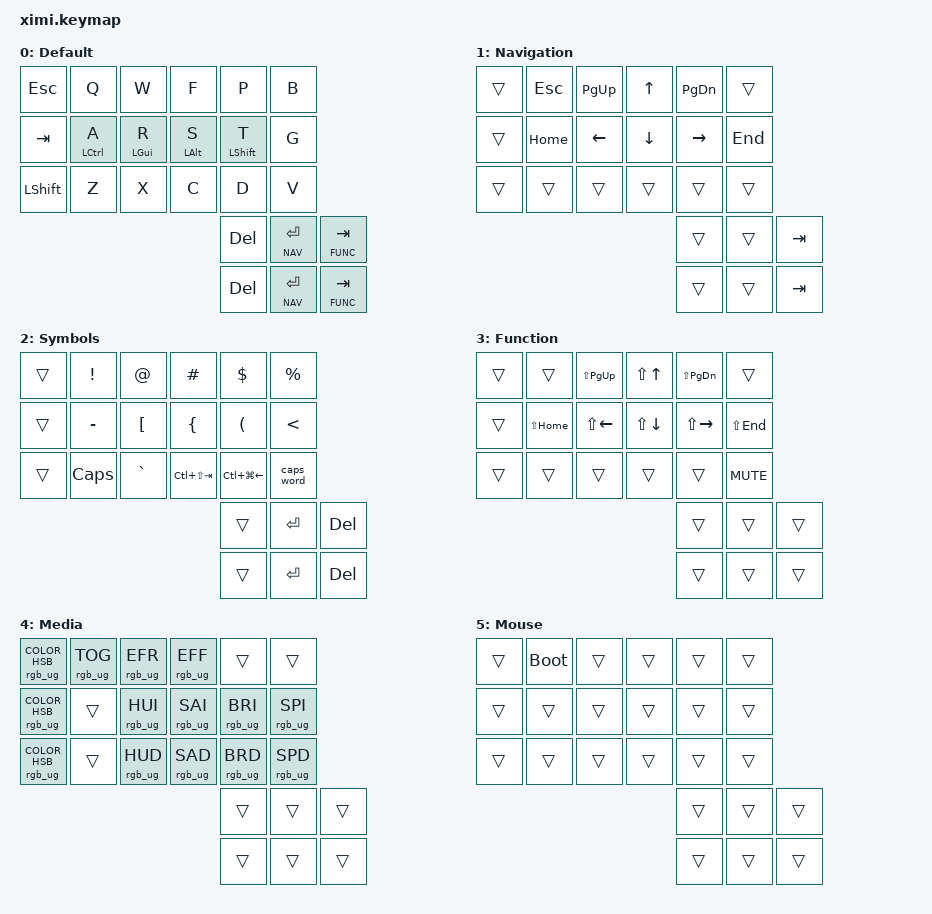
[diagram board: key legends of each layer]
/*
 * Copyright (c) 2020 The ZMK Contributors
 *
 * SPDX-License-Identifier: MIT
 */

#include <behaviors.dtsi>
#include <dt-bindings/zmk/keys.h>
#include <dt-bindings/zmk/rgb.h>
#include <dt-bindings/zmk/bt.h>
#include <dt-bindings/zmk/ext_power.h>
#include <dt-bindings/zmk/outputs.h>

#define DEFAULT 0
#define NAV     1
#define SYM     2
#define FUNC    3
#define MEDIA   4
#define MOUSE   5

&caps_word {
    continue-list = <UNDERSCORE MINUS>;
};
/*
/ {
// TODO: key positions
    combos {
        compatible = "zmk,combos";
        combo_undo {
            timeout-ms = <50>;
            key-positions = <14 15>;
            bindings = <&kp LC(Z)>;
        };
        combo_semicolon {
            timeout-ms = <50>;
            key-positions = <21 22>;
            bindings = <&kp SEMI>;
        };
    };
};
*/
/ {
    behaviors {
        hm: homerow_mods {
            compatible = "zmk,behavior-hold-tap";
            label = "HOMEROW_MODS";
            #binding-cells = <2>;
            tapping-term-ms = <200>;
            quick_tap_ms = <0>;
            flavor = "balanced";
            bindings = <&kp>, <&kp>;
        };
        hs: homerow_shift {
            compatible = "zmk,behavior-hold-tap";
            label = "HOMEROW_SHIFT";
            #binding-cells = <2>;
            tapping-term-ms = <175>;
            quick_tap_ms = <0>;
            flavor = "balanced";
            bindings = <&kp>, <&kp>;
        };
    };

    keymap {
        compatible = "zmk,keymap";

        default_layer {
            label = "Default";

            bindings = <
    &kp ESC    &kp Q        &kp W        &kp F       &kp P         &kp B                     //                  &kp J         &kp L        &lt WINNAV U  &kp Y       &kp SEMI    &kp BSLH
    &kp TAB    &hm LCTL A   &hm LGUI R   &hm LALT S  &hs LSHIFT T  &kp G                     //                  &lt MOUSE M   &hs RSHIFT N &hm RALT E    &hm RGUI I  &hm RCTL O  &kp SQT
    &kp LSHIFT &kp Z        &kp X        &kp C       &kp D         &kp V                     //                  &kp K         &kp H        &kp COMMA     &kp DOT     &kp FSLH    &kp RCTRL
                                                     &kp DEL       &lt NAV RET  &lt FUNC TAB // &lt MEDIA BSPC   &lt SYM SPACE &kp SQT
                                                     &kp DEL       &lt NAV RET  &lt FUNC TAB // &lt MEDIA BSPC   &lt SYM SPACE &kp SQT
            >;
        };

        nav_layer {
            label = "Navigation";

            bindings = <
    &trans     &kp ESC      &kp PG_UP    &kp UP      &kp PG_DN     &trans                 //                     &kp ASTRK     &kp N7       &kp N8        &kp N9      &kp MINUS   &trans
    &trans     &kp HOME     &kp LEFT     &kp DOWN    &kp RIGHT     &kp END                //                     &kp FSLH      &kp N4       &kp N5        &kp N6      &kp PLUS    &trans
    &trans     &trans       &trans       &trans      &trans        &trans                 //                     &kp EQUAL     &kp N1       &kp N2        &kp N3      &kp N0      &trans
                                                     &trans        &trans       &kp TAB   //    &kp BSPC         &kp SPACE     &kp DOT
                                                     &trans        &trans       &kp TAB   //    &kp BSPC         &kp SPACE     &kp DOT
            >;
        };

        sym_layer {
            label = "Symbols";

            bindings = <
    &trans     &kp EXCL     &kp AT       &kp HASH        &kp DLLR         &kp PRCNT               //                    &kp CARET     &kp AMPS          &kp ASTRK     &kp UNDER   &kp EQUAL   &trans
    &trans     &kp MINUS    &kp LBKT     &kp LBRC        &kp LPAR         &kp LT                  //                    &kp GT        &kp RPAR          &kp RBRC      &kp RBKT    &kp PLUS    &trans
    &trans     &kp CAPS     &kp GRAVE    &kp LC(LS(TAB)) &kp LC(LG(LEFT)) &caps_word              //                    &trans        &kp LC(LG(RIGHT)) &kp LC(TAB)   &trans      &kp BSLH    &trans
                                                         &trans           &kp RET       &kp DEL   //     &kp BSPC       &trans        &trans
                                                         &trans           &kp RET       &kp DEL   //     &kp BSPC       &trans        &trans
            >;
        };

        func_layer {
            label = "Function";

            bindings = <
    &trans     &trans       &kp LS(PG_UP) &kp LS(UP)   &kp LS(PG_DN) &trans                  //                    &kp C_PLAY_PAUSE &kp F7       &kp F8        &kp F9      &kp F10     &trans
    &trans     &kp LS(HOME) &kp LS(LEFT)  &kp LS(DOWN) &kp LS(RIGHT) &kp LS(END)             //                    &kp K_VOL_UP     &kp F4       &kp F5        &kp F6      &kp F11     &trans
    &trans     &trans       &trans        &trans       &trans        &kp C_MUTE              //                    &kp K_VOL_DN     &kp F1       &kp F2        &kp F3      &kp F12     &trans
                                                       &trans        &trans        &trans    //     &trans         &trans           &kp SPACE
                                                       &trans        &trans        &trans    //     &trans         &trans           &kp SPACE
            >;
        };

        media_layer {
            label = "Media";

            bindings = <
    &rgb_ug RGB_COLOR_HSB(0,0,100)         &rgb_ug RGB_TOG  &rgb_ug RGB_EFR  &rgb_ug RGB_EFF &trans            &trans                //            &trans             &bt BT_PRV        &bt BT_NXT         &trans         &trans          &trans
    &rgb_ug RGB_COLOR_HSB(224,100,100)     &trans           &rgb_ug RGB_HUI  &rgb_ug RGB_SAI &rgb_ug RGB_BRI   &rgb_ug RGB_SPI       //            &bt BT_CLR         &bt BT_SEL 0      &bt BT_SEL 1       &bt BT_SEL 2   &bt BT_SEL 3    &trans
    &rgb_ug RGB_COLOR_HSB(278,100,100)     &trans           &rgb_ug RGB_HUD  &rgb_ug RGB_SAD &rgb_ug RGB_BRD   &rgb_ug RGB_SPD       //            &ext_power EP_TOG  &ext_power EP_ON  &ext_power EP_OFF  &out OUT_USB   &out OUT_BLE    &trans
                                                                                            &trans            &trans        &trans   //      &trans         &trans           &trans
                                                                                            &trans            &trans        &trans   //      &trans         &trans           &trans
            >;
        };

        mouse_layer {
            label = "Mouse";

            bindings = <
    &trans     &bootloader &trans      &trans      &trans      &trans                      //                     &trans      &trans      &trans      &trans      &trans      &trans
    &trans     &trans      &trans      &trans      &trans      &trans                      //                     &trans      &trans      &trans      &trans      &trans      &trans
    &trans     &trans      &trans      &trans      &trans      &trans                      //                     &trans      &trans      &trans      &trans      &trans      &trans
                                                   &trans        &trans        &trans      //     &trans          &trans      &trans
                                                   &trans        &trans        &trans      //     &trans          &trans      &trans
            >;
        };
    };
};
